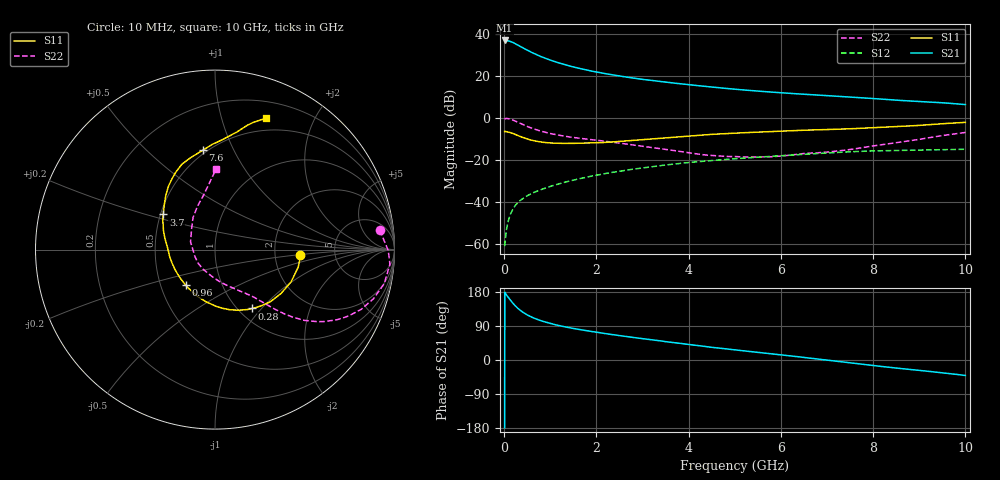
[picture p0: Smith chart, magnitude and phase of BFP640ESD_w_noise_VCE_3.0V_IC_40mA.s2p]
! Infineon Technologies  Discrete & RF Semiconductors
! BFP640ESD
! VCE =  3.0 V,  IC =  40 mA
! Common Emitter S-Parameters:  Jan 2016
# GHz  S  MA  R  50
!  f  S11  S21  S12  S22
! GHz  MAG  ANG  MAG  ANG  MAG  ANG  MAG  ANG
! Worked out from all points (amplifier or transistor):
!   233 points, 10 MHz to 10 GHz, reference 50 ohm
!   highest |S21| = 36.8 dB at 10 MHz (marker M1)
!   |S21| within 3 dB of that: start of sweep to 365.1 MHz
!   unconditionally stable (mu >= 1): 2.327 GHz to 6.919 GHz
!   at 200 MHz: K = 0.31, MSG = 39.4 dB, |S12| = -43.0 dB
!   at 1.74 GHz: K = 0.97, MSG = 25.7 dB, |S12| = -28.4 dB
!   at 10 GHz: K = 0.89, MSG = 10.6 dB, |S12| = -14.9 dB
!   lowest NFmin = 1.27 dB at 450 MHz
!   S11 on the Smith chart (normalised r, x): 10 MHz: 2.80, -0.22; 280 MHz: 1.15, -0.89; 960 MHz: 0.67, -0.28; 3.7 GHz: 0.52, +0.23; 7.6 GHz: 0.48, +0.77; 10 GHz: 0.37, +1.39
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0.01  0.4762 -3.7  69.15 -179.1  0.0009 125.7  0.9243 6.7
0.02  0.4776 -5.3  69.06 176.9  0.0011 106.5  0.9654 -0.3
0.05  0.4737 -12.0  68.67 171.6  0.0022 85.6  0.9782 -4.8
0.1  0.4604 -23.0  67.48 163.5  0.0039 80.7  0.9616 -11.4
0.15  0.4415 -33.8  64.65 155.4  0.0056 78.7  0.9248 -17.2
0.2  0.4231 -43.6  61.22 148.3  0.0071 75.4  0.8804 -22.2
0.28  0.3877 -57.8  55.01 138.4  0.0093 72.0  0.8039 -28.4
0.36  0.358 -70.4  49.31 130.2  0.0112 69.5  0.7319 -33.2
0.44  0.3324 -81.3  44.12 123.4  0.013 68.3  0.6685 -36.6
0.6  0.2953 -99.7  35.82 112.8  0.0161 67.0  0.568 -41.2
0.8  0.2671 -117.8  28.57 103.5  0.0198 66.9  0.4844 -44.3
0.96  0.2563 -129.6  24.51 97.7  0.0228 66.8  0.4374 -46.1
1.3  0.2488 -148.9  18.6 87.9  0.0294 66.4  0.3698 -49.1
1.68  0.2513 -164.4  14.6 79.4  0.037 65.3  0.3237 -52.2
2.4  0.2712 173.9  10.3 66.1  0.0522 61.4  0.2613 -60.2
3.4  0.3293 151.8  7.287 50.3  0.074 53.2  0.1864 -79.3
3.7  0.3486 145.8  6.685 45.7  0.0805 50.3  0.1668 -87.2
5.1  0.4409 125.6  4.704 25.4  0.1092 36.7  0.1194 -144.7
6.8  0.5216 107.3  3.483 2.6  0.1429 20.0  0.149 154.9
7.6  0.5581 96.9  3.086 -8.8  0.1586 10.9  0.1842 134.2
8.4  0.6134 86.2  2.687 -20.0  0.1679 1.4  0.2489 114.7
10  0.7845 68.9  2.077 -40.9  0.1802 -14.4  0.4512 89.2
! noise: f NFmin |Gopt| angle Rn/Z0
0.45  1.27  0.26  -167  0.1
0.9  1.28  0.28  -162  0.09
1.9  1.31  0.3  -138  0.16
2.4  1.32  0.31  -132  0.13
5.5  1.54  0.48  -100  0.22
10  2.09  0.6  -72  0.97
